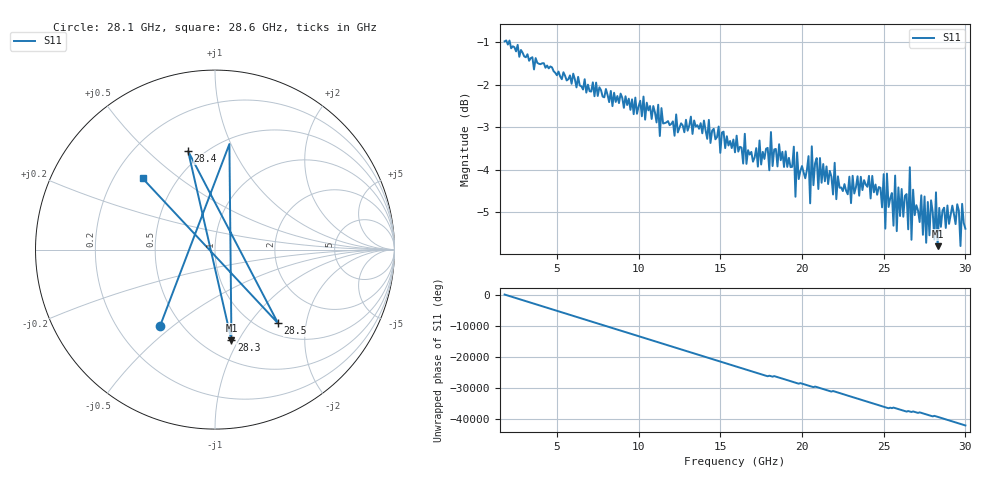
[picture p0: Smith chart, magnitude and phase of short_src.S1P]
! C:\Users\Focus\Desktop\Focus Traning\LOW FREQUENCY TUNERS\LOAD-PULL CALIBRATION\02-08-2024\focus_TRL\src_short.S1P
! measured on: 08/02/24 14:52:59
# GHZ S MA R 50
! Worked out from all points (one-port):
!   283 points, 1.8 GHz to 30 GHz, reference 50 ohm
!   lowest |S11| = -5.8 dB at 28.3 GHz (marker M1), VSWR 3.11, Z = 34.1 - j46.8 ohm
!   |S11| at or under -10 dB: nowhere
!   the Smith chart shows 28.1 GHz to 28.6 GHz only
!   S11 on the Smith chart (normalised r, x): 28.1 GHz: 0.39, -0.45; 28.3 GHz: 0.68, -0.94; 28.4 GHz: 0.42, +0.68; 28.5 GHz: 1.20, -1.39; 28.6 GHz: 0.32, +0.37
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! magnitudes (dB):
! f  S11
! 1.8 GHz  -1.0
! 5.4 GHz  -1.7
! 8.9 GHz  -2.2
! 12.4 GHz  -3.1
! 15.9 GHz  -3.6
! 19.5 GHz  -3.5
! 19.6 GHz  -4.6
! 20.4 GHz  -3.7
! 20.5 GHz  -4.8
! 20.6 GHz  -3.4
! 23 GHz  -4.8
! 25 GHz  -4.1
! 25.1 GHz  -5.4
! 25.2 GHz  -4.1
! 25.6 GHz  -5.3
! 25.7 GHz  -4.1
! 25.8 GHz  -5.4
! 26.5 GHz  -5.4
! 26.6 GHz  -3.9
! 26.7 GHz  -5.6
! 26.8 GHz  -4.5
! 28.1 GHz  -5.6
! 28.2 GHz  -4.5
! 28.3 GHz  -5.8
! 28.4 GHz  -4.9
! 28.5 GHz  -5.3
! 28.6 GHz  -5.0
! 30 GHz  -5.4
